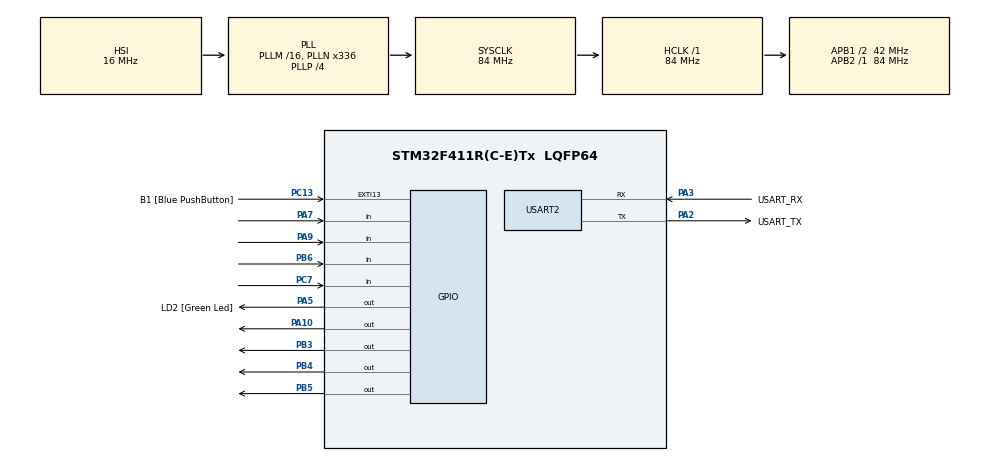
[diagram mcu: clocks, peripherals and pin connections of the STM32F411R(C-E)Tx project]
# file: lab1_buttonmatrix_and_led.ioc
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Mcu.Family=STM32F4
Mcu.Name=STM32F411R(C-E)Tx
Mcu.Package=LQFP64
NVIC.PriorityGroup=NVIC_PRIORITYGROUP_0
PA10.GPIO_ModeDefaultOutputPP=GPIO_MODE_OUTPUT_OD
PA10.GPIO_PuPd=GPIO_NOPULL
PA10.Signal=GPIO_Output
PA13.GPIO_Label=TMS
PA13.Mode=Serial_Wire
PA13.Signal=SYS_JTMS-SWDIO
PA14.GPIO_Label=TCK
PA14.Mode=Serial_Wire
PA14.Signal=SYS_JTCK-SWCLK
PA2.GPIO_Label=USART_TX
PA2.Mode=Asynchronous
PA2.Signal=USART2_TX
PA3.GPIO_Label=USART_RX
PA3.Mode=Asynchronous
PA3.Signal=USART2_RX
PA5.GPIO_Label=LD2 [Green Led]
PA5.Signal=GPIO_Output
PA7.GPIO_PuPd=GPIO_PULLUP
PA7.Signal=GPIO_Input
PA9.GPIO_PuPd=GPIO_PULLUP
PA9.Signal=GPIO_Input
PB3.GPIO_ModeDefaultOutputPP=GPIO_MODE_OUTPUT_OD
PB3.GPIO_PuPd=GPIO_NOPULL
PB3.Signal=GPIO_Output
PB4.GPIO_ModeDefaultOutputPP=GPIO_MODE_OUTPUT_OD
PB4.GPIO_PuPd=GPIO_NOPULL
PB4.Signal=GPIO_Output
PB5.GPIO_ModeDefaultOutputPP=GPIO_MODE_OUTPUT_OD
PB5.GPIO_PuPd=GPIO_NOPULL
PB5.Signal=GPIO_Output
PB6.GPIO_PuPd=GPIO_PULLUP
PB6.Signal=GPIO_Input
PC13-ANTI_TAMP.GPIO_Label=B1 [Blue PushButton]
PC13-ANTI_TAMP.GPIO_ModeDefaultEXTI=GPIO_MODE_IT_FALLING
PC13-ANTI_TAMP.Signal=GPXTI13
PC14-OSC32_IN.Mode=LSE-External-Oscillator
PC14-OSC32_IN.Signal=RCC_OSC32_IN
PC15-OSC32_OUT.Mode=LSE-External-Oscillator
PC15-OSC32_OUT.Signal=RCC_OSC32_OUT
PC7.GPIO_PuPd=GPIO_PULLUP
PC7.Signal=GPIO_Input
PH0\ -\ OSC_IN.Mode=HSE-External-Clock-Source
PH0\ -\ OSC_IN.Signal=RCC_OSC_IN
PH1\ -\ OSC_OUT.Mode=HSE-External-Clock-Source
PH1\ -\ OSC_OUT.Signal=RCC_OSC_OUT
ProjectManager.HeapSize=0x200
ProjectManager.StackSize=0x400
ProjectManager.TargetToolchain=STM32CubeIDE
RCC.48MHZClocksFreq_Value=84000000
RCC.AHBFreq_Value=84000000
RCC.APB1CLKDivider=RCC_HCLK_DIV2
RCC.APB1Freq_Value=42000000
RCC.APB1TimFreq_Value=84000000
RCC.APB2Freq_Value=84000000
RCC.APB2TimFreq_Value=84000000
RCC.CortexFreq_Value=84000000
RCC.FLatency-AdvancedSettings=FLASH_LATENCY_2
RCC.HCLKFreq_Value=84000000
RCC.HSE_VALUE=8000000
RCC.HSI_VALUE=16000000
RCC.PLLN=336
RCC.PLLP=RCC_PLLP_DIV4
RCC.SYSCLKFreq_VALUE=84000000
RCC.SYSCLKSource=RCC_SYSCLKSOURCE_PLLCLK
RCC.VCOOutputFreq_Value=336000000
USART2.VirtualMode=VM_ASYNC
board=NUCLEO-F411RE

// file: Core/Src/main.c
/* USER CODE BEGIN Header */
/**
  ******************************************************************************
  * @file           : main.c
  * @brief          : Main program body
  ******************************************************************************
  * @attention
  *
  * Copyright (c) 2023 STMicroelectronics.
  * All rights reserved.
  *
  * This software is licensed under terms that can be found in the LICENSE file
  * in the root directory of this software component.
  * If no LICENSE file comes with this software, it is provided AS-IS.
  *
  ******************************************************************************
  */
/* USER CODE END Header */
#include "main.h"

UART_HandleTypeDef huart2;

/* USER CODE BEGIN PV */
typedef struct _PortPin
{
	GPIO_TypeDef* PORT;
	uint16_t PIN;
} PortPin;

//declare PortPin R,L
PortPin R[4] =
{
		{GPIOA,GPIO_PIN_10},
		{GPIOB,GPIO_PIN_3},
		{GPIOB,GPIO_PIN_5},
		{GPIOB,GPIO_PIN_4}
};

PortPin L[4] =
{
		{GPIOA,GPIO_PIN_9},
		{GPIOC,GPIO_PIN_7},
		{GPIOB,GPIO_PIN_6},
		{GPIOA,GPIO_PIN_7}
};
typedef struct
{
	uint16_t current;
	uint16_t before;
}Save;

Save press[16] =
{
		{1,1},{1,1},{1,1},{1,1},
		{1,1},{1,1},{1,1},{1,1},
		{1,1},{1,1},{1,1},{1,1},
		{1,1},{1,1},{1,1},{1,1}

};
typedef struct
{
	uint16_t now;
	uint16_t last;
}buttonrising;
buttonrising rising;

typedef struct
{
	uint16_t number;
}myIDnumber;

myIDnumber ID[12] =
{
		{0},{0},{0},{0},
		{0},{0},{0},{0},
		{0},{0},{0},{0}
};

uint32_t ButtonMatrix = 0;
int detect = 0;
uint32_t count = 0;
int k = 0;
/* USER CODE END PV */

void SystemClock_Config(void);
static void MX_GPIO_Init(void);
static void MX_USART2_UART_Init(void);

int main(void)
{

  /* MCU Configuration--------------------------------------------------------*/

  /* Reset of all peripherals, Initializes the Flash interface and the Systick. */
  HAL_Init();

  /* Configure the system clock */
  SystemClock_Config();

  /* Initialize all configured peripherals */
  MX_GPIO_Init();
  MX_USART2_UART_Init();

  /* Infinite loop */
  /* USER CODE BEGIN WHILE */
  while (1)
  {
	  static uint32_t timestamp=0;
	  if(HAL_GetTick() >= timestamp)
	  {
		  timestamp = HAL_GetTick() + 10;
		  ReadMatrixButton_1Row();
	  }

	  rising.now = ButtonMatrix;

	  if(ButtonMatrix == 4096) // clear
	  {
		  for (int i = 0; i < 12; i++)
		  {
			  ID[i].number = 0;
		  }
		  k = 0;
		  count = 0;
		  HAL_GPIO_WritePin(GPIOA, GPIO_PIN_5, GPIO_PIN_RESET);

	  }

	  else if(rising.last == 0 && rising.now != 0 && ButtonMatrix == 8192)
	  {
		  k--;
		  count -= 2;
		  ID[k].number = 0;
	  }

	  else if(rising.last == 0 && rising.now != 0)
	  {
		  ID[k].number = ButtonMatrix;
		  k++;
	  }

	  if(ID[0].number == (512) &&
			ID[1].number == (2) &&
			ID[2].number == (1024) &&
			ID[3].number == (2) &&
			ID[4].number == (8) &&
			ID[5].number == (32) &&
			ID[6].number == (8) &&
			ID[7].number == (8) &&
			ID[8].number == (8) &&
			ID[9].number == (4) &&
			ID[10].number == (2) &&
			ID[11].number == (32768)&&
			count == 12)

	  {
		  HAL_GPIO_WritePin(GPIOA, GPIO_PIN_5, GPIO_PIN_SET);
	  }

	  else
		{
		  HAL_GPIO_WritePin(GPIOA, GPIO_PIN_5, GPIO_PIN_RESET);
		}
	  rising.last = rising.now;
    /* USER CODE END WHILE */

  }
}

void SystemClock_Config(void)
{
  RCC_OscInitTypeDef RCC_OscInitStruct = {0};
  RCC_ClkInitTypeDef RCC_ClkInitStruct = {0};

  /** Configure the main internal regulator output voltage
  */
  __HAL_RCC_PWR_CLK_ENABLE();
  __HAL_PWR_VOLTAGESCALING_CONFIG(PWR_REGULATOR_VOLTAGE_SCALE1);

  /** Initializes the RCC Oscillators according to the specified parameters
  * in the RCC_OscInitTypeDef structure.
  */
  RCC_OscInitStruct.OscillatorType = RCC_OSCILLATORTYPE_HSI;
  RCC_OscInitStruct.HSIState = RCC_HSI_ON;
  RCC_OscInitStruct.HSICalibrationValue = RCC_HSICALIBRATION_DEFAULT;
  RCC_OscInitStruct.PLL.PLLState = RCC_PLL_ON;
  RCC_OscInitStruct.PLL.PLLSource = RCC_PLLSOURCE_HSI;
  RCC_OscInitStruct.PLL.PLLM = 16;
  RCC_OscInitStruct.PLL.PLLN = 336;
  RCC_OscInitStruct.PLL.PLLP = RCC_PLLP_DIV4;
  RCC_OscInitStruct.PLL.PLLQ = 4;
  if (HAL_RCC_OscConfig(&RCC_OscInitStruct) != HAL_OK)
  {
    Error_Handler();
  }

  /** Initializes the CPU, AHB and APB buses clocks
  */
  RCC_ClkInitStruct.ClockType = RCC_CLOCKTYPE_HCLK|RCC_CLOCKTYPE_SYSCLK
                              |RCC_CLOCKTYPE_PCLK1|RCC_CLOCKTYPE_PCLK2;
  RCC_ClkInitStruct.SYSCLKSource = RCC_SYSCLKSOURCE_PLLCLK;
  RCC_ClkInitStruct.AHBCLKDivider = RCC_SYSCLK_DIV1;
  RCC_ClkInitStruct.APB1CLKDivider = RCC_HCLK_DIV2;
  RCC_ClkInitStruct.APB2CLKDivider = RCC_HCLK_DIV1;

  if (HAL_RCC_ClockConfig(&RCC_ClkInitStruct, FLASH_LATENCY_2) != HAL_OK)
  {
    Error_Handler();
  }
}

static void MX_USART2_UART_Init(void)
{

  huart2.Instance = USART2;
  huart2.Init.BaudRate = 115200;
  huart2.Init.WordLength = UART_WORDLENGTH_8B;
  huart2.Init.StopBits = UART_STOPBITS_1;
  huart2.Init.Parity = UART_PARITY_NONE;
  huart2.Init.Mode = UART_MODE_TX_RX;
  huart2.Init.HwFlowCtl = UART_HWCONTROL_NONE;
  huart2.Init.OverSampling = UART_OVERSAMPLING_16;
  if (HAL_UART_Init(&huart2) != HAL_OK)
  {
    Error_Handler();
  }

}

static void MX_GPIO_Init(void)
{
  GPIO_InitTypeDef GPIO_InitStruct = {0};

  /* GPIO Ports Clock Enable */
  __HAL_RCC_GPIOC_CLK_ENABLE();
  __HAL_RCC_GPIOH_CLK_ENABLE();
  __HAL_RCC_GPIOA_CLK_ENABLE();
  __HAL_RCC_GPIOB_CLK_ENABLE();

  /*Configure GPIO pin Output Level */
  HAL_GPIO_WritePin(GPIOA, LD2_Pin|GPIO_PIN_10, GPIO_PIN_RESET);

  /*Configure GPIO pin Output Level */
  HAL_GPIO_WritePin(GPIOB, GPIO_PIN_3|GPIO_PIN_4|GPIO_PIN_5, GPIO_PIN_RESET);

  /*Configure GPIO pin : B1_Pin */
  GPIO_InitStruct.Pin = B1_Pin;
  GPIO_InitStruct.Mode = GPIO_MODE_IT_FALLING;
  GPIO_InitStruct.Pull = GPIO_NOPULL;
  HAL_GPIO_Init(B1_GPIO_Port, &GPIO_InitStruct);

  /*Configure GPIO pin : LD2_Pin */
  GPIO_InitStruct.Pin = LD2_Pin;
  GPIO_InitStruct.Mode = GPIO_MODE_OUTPUT_PP;
  GPIO_InitStruct.Pull = GPIO_NOPULL;
  GPIO_InitStruct.Speed = GPIO_SPEED_FREQ_LOW;
  HAL_GPIO_Init(LD2_GPIO_Port, &GPIO_InitStruct);

  /*Configure GPIO pins : PA7 PA9 */
  GPIO_InitStruct.Pin = GPIO_PIN_7|GPIO_PIN_9;
  GPIO_InitStruct.Mode = GPIO_MODE_INPUT;
  GPIO_InitStruct.Pull = GPIO_PULLUP;
  HAL_GPIO_Init(GPIOA, &GPIO_InitStruct);

  /*Configure GPIO pin : PC7 */
  GPIO_InitStruct.Pin = GPIO_PIN_7;
  GPIO_InitStruct.Mode = GPIO_MODE_INPUT;
  GPIO_InitStruct.Pull = GPIO_PULLUP;
  HAL_GPIO_Init(GPIOC, &GPIO_InitStruct);

  /*Configure GPIO pin : PA10 */
  GPIO_InitStruct.Pin = GPIO_PIN_10;
  GPIO_InitStruct.Mode = GPIO_MODE_OUTPUT_OD;
  GPIO_InitStruct.Pull = GPIO_NOPULL;
  GPIO_InitStruct.Speed = GPIO_SPEED_FREQ_LOW;
  HAL_GPIO_Init(GPIOA, &GPIO_InitStruct);

  /*Configure GPIO pins : PB3 PB4 PB5 */
  GPIO_InitStruct.Pin = GPIO_PIN_3|GPIO_PIN_4|GPIO_PIN_5;
  GPIO_InitStruct.Mode = GPIO_MODE_OUTPUT_OD;
  GPIO_InitStruct.Pull = GPIO_NOPULL;
  GPIO_InitStruct.Speed = GPIO_SPEED_FREQ_LOW;
  HAL_GPIO_Init(GPIOB, &GPIO_InitStruct);

  /*Configure GPIO pin : PB6 */
  GPIO_InitStruct.Pin = GPIO_PIN_6;
  GPIO_InitStruct.Mode = GPIO_MODE_INPUT;
  GPIO_InitStruct.Pull = GPIO_PULLUP;
  HAL_GPIO_Init(GPIOB, &GPIO_InitStruct);

}

/* USER CODE BEGIN 4 */
void ReadMatrixButton_1Row()
{
	static uint8_t r = 0;

	//READ L1-L4
	register int l; // keep in RAM near cpu fast to use

	for(l = 0; l < 4; l++ )
	{
			press[r * 4 + l].current = HAL_GPIO_ReadPin(L[l].PORT, L[l].PIN);
			detect = HAL_GPIO_ReadPin(L[l].PORT, L[l].PIN);
			if(press[r * 4 + l].current)
			{
				ButtonMatrix &= ~(1 << (r * 4 + l));
				//~press > high
			}
			else if(press[r * 4 + l].before == 1 && press[r * 4 + l].current == 0)
			{
				ButtonMatrix |= 1<<(r * 4 + l);
				count++;
				//press > low
			}

			press[r*4+l].before = press[ r * 4 + l ].current;
	}
	//SET Rr
	HAL_GPIO_WritePin(R[r].PORT, R[r].PIN, 1);
	//RESET Rr+1%4
	HAL_GPIO_WritePin(R[(r + 1) % 4].PORT, R[(r + 1) % 4].PIN, 0);
	r++; // have change to get more than 3
	r %= 4; // 0 1 2 3
}
/* USER CODE END 4 */

void Error_Handler(void)
{
  __disable_irq();
  while (1)
  {
  }
}
